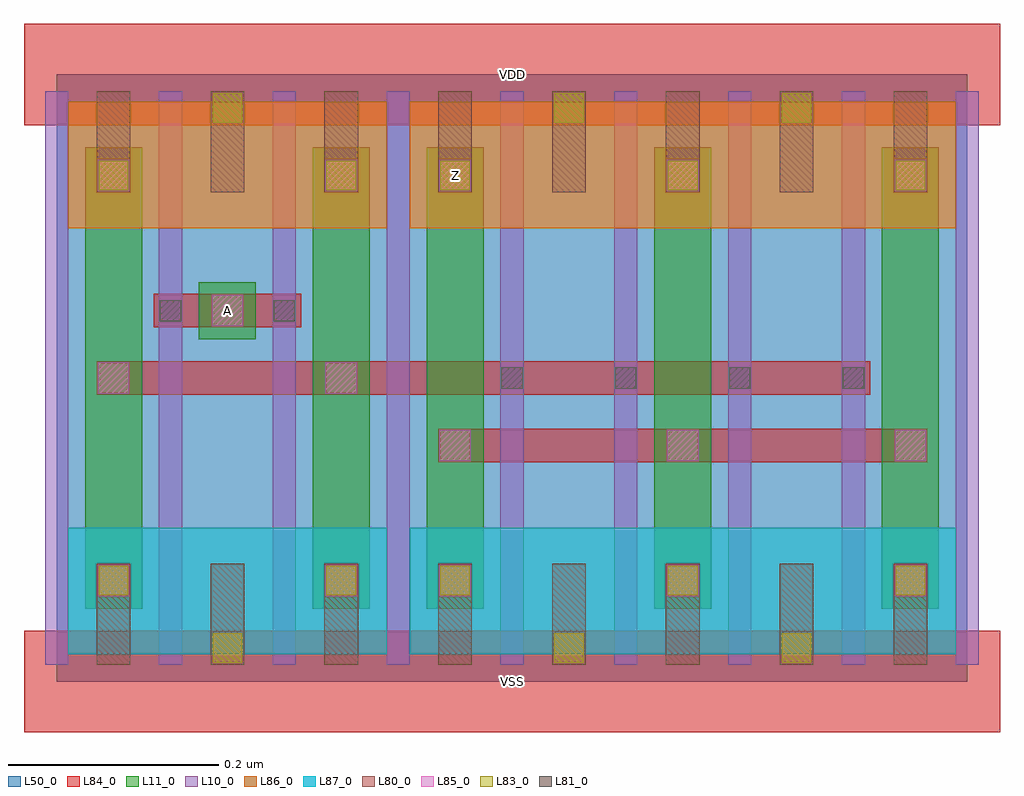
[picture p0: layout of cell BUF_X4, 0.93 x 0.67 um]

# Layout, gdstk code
import gdstk
lib = gdstk.Library(unit=1e-6, precision=1e-09)
def R(c, l, rs):  # rectangles x0, y0, x1, y1
    for r in rs: c.add(gdstk.rectangle(r[:2], r[2:], *l))
def A(c, l, x, y, w, h, nx, ny, dx, dy):  # array of equal rectangles
    R(c, l, [(x+i*dx, y+j*dy, x+i*dx+w, y+j*dy+h) for i in range(nx) for j in range(ny)])
L10_0 = (10, 0)
L11_0 = (11, 0)
L50_0 = (50, 0)
L80_0 = (80, 0)
L81_0 = (81, 0)
L83_0 = (83, 0)
L84_0 = (84, 0)
L85_0 = (85, 0)
L86_0 = (86, 0)
L87_0 = (87, 0)

buf_x4 = lib.new_cell('BUF_X4')
A(buf_x4, L10_0, -0.011, 0.016, 0.022, 0.544, 9, 1, 0.108, 0)
A(buf_x4, L11_0, 0.351, 0.069, 0.054, 0.438, 3, 1, 0.216, 0)
R(buf_x4, L11_0, [(0.027,0.069,0.081,0.507), (0.243,0.069,0.297,0.507), (0.135,0.325,0.189,0.379)])
R(buf_x4, L50_0, [(0,0,0.864,0.576)])
A(buf_x4, L80_0, 0.038, 0.016, 0.032, 0.096, 8, 2, 0.108, 0.448)
A(buf_x4, L81_0, 0.422, 0.278, 0.02, 0.02, 4, 1, 0.108, 0)
R(buf_x4, L81_0, [(0.098,0.342,0.118,0.362), (0.206,0.342,0.226,0.362)])
A(buf_x4, L83_0, 0.364, 0.082, 0.028, 0.028, 3, 2, 0.216, 0.384)
R(buf_x4, L83_0, [(0.148,0.018,0.176,0.046), (0.472,0.018,0.5,0.046), (0.688,0.018,0.716,0.046), (0.04,0.082,0.068,0.11), (0.256,0.082,0.284,0.11), (0.04,0.466,0.068,0.494), (0.256,0.466,0.284,0.494), (0.148,0.53,0.176,0.558), (0.472,0.53,0.5,0.558), (0.688,0.53,0.716,0.558)])
A(buf_x4, L84_0, 0.362, 0.08, 0.032, 0.032, 3, 2, 0.216, 0.384)
R(buf_x4, L84_0, [(-0.031,-0.048,0.895,0.048), (0.038,0.08,0.07,0.112), (0.254,0.08,0.286,0.112), (0.362,0.208,0.826,0.24), (0.038,0.272,0.772,0.304), (0.092,0.336,0.232,0.368), (0.038,0.464,0.07,0.496), (0.254,0.464,0.286,0.496), (-0.031,0.528,0.895,0.624)])
A(buf_x4, L85_0, 0.039, 0.081, 0.03, 0.03, 1, 3, 0, 0.192)
A(buf_x4, L85_0, 0.255, 0.081, 0.03, 0.03, 1, 3, 0, 0.192)
A(buf_x4, L85_0, 0.363, 0.081, 0.03, 0.03, 3, 2, 0.216, 0.128)
A(buf_x4, L85_0, 0.363, 0.465, 0.03, 0.03, 3, 1, 0.216, 0)
R(buf_x4, L85_0, [(0.147,0.337,0.177,0.367)])
R(buf_x4, L86_0, [(0.011,0.43,0.313,0.55), (0.335,0.43,0.853,0.55)])
R(buf_x4, L87_0, [(0.011,0.026,0.313,0.146), (0.335,0.026,0.853,0.146)])
buf_x4.add(gdstk.Label('VDD', (0.432,0.576), layer=88, texttype=0))
buf_x4.add(gdstk.Label('VSS', (0.432,0), layer=88, texttype=0))
buf_x4.add(gdstk.Label('Z', (0.378,0.48), layer=31, texttype=0))
buf_x4.add(gdstk.Label('A', (0.162,0.352), layer=31, texttype=0))

lib.write_gds('BUF_X4.gds')
